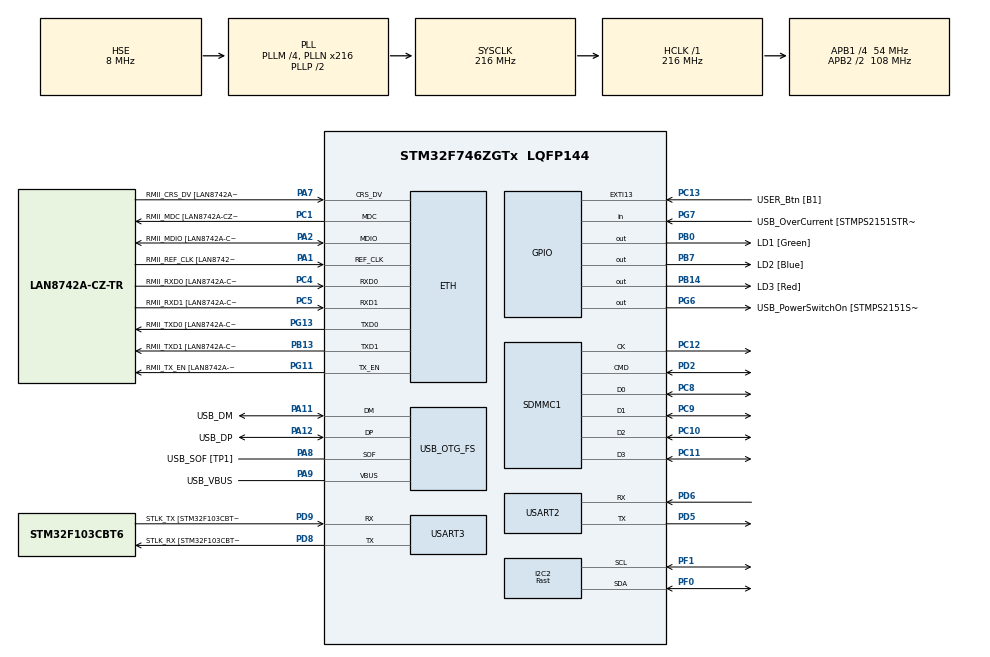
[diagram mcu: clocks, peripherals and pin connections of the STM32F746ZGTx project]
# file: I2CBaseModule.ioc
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Dma.Request0=SDMMC1_RX
Dma.Request1=SDMMC1_TX
Dma.SDMMC1_RX.0.Direction=DMA_PERIPH_TO_MEMORY
Dma.SDMMC1_RX.0.FIFOMode=DMA_FIFOMODE_ENABLE
Dma.SDMMC1_RX.0.FIFOThreshold=DMA_FIFO_THRESHOLD_FULL
Dma.SDMMC1_RX.0.Instance=DMA2_Stream3
Dma.SDMMC1_RX.0.MemBurst=DMA_MBURST_INC4
Dma.SDMMC1_RX.0.MemDataAlignment=DMA_MDATAALIGN_WORD
Dma.SDMMC1_RX.0.MemInc=DMA_MINC_ENABLE
Dma.SDMMC1_RX.0.Mode=DMA_PFCTRL
Dma.SDMMC1_RX.0.PeriphBurst=DMA_PBURST_INC4
Dma.SDMMC1_RX.0.PeriphDataAlignment=DMA_PDATAALIGN_WORD
Dma.SDMMC1_RX.0.PeriphInc=DMA_PINC_DISABLE
Dma.SDMMC1_RX.0.Priority=DMA_PRIORITY_LOW
Dma.SDMMC1_TX.1.Direction=DMA_MEMORY_TO_PERIPH
Dma.SDMMC1_TX.1.FIFOMode=DMA_FIFOMODE_ENABLE
Dma.SDMMC1_TX.1.FIFOThreshold=DMA_FIFO_THRESHOLD_FULL
Dma.SDMMC1_TX.1.Instance=DMA2_Stream6
Dma.SDMMC1_TX.1.MemBurst=DMA_MBURST_INC4
Dma.SDMMC1_TX.1.MemDataAlignment=DMA_MDATAALIGN_WORD
Dma.SDMMC1_TX.1.MemInc=DMA_MINC_ENABLE
Dma.SDMMC1_TX.1.Mode=DMA_PFCTRL
Dma.SDMMC1_TX.1.PeriphBurst=DMA_PBURST_INC4
Dma.SDMMC1_TX.1.PeriphDataAlignment=DMA_PDATAALIGN_WORD
Dma.SDMMC1_TX.1.PeriphInc=DMA_PINC_DISABLE
Dma.SDMMC1_TX.1.Priority=DMA_PRIORITY_LOW
ETH.MediaInterface=ETH_MEDIA_INTERFACE_RMII
ETH.PHY_Name=LAN8742A_PHY_ADDRESS
ETH.PHY_Value=0
ETH.PhyAddress=0
FATFS.BSP.number=1
FATFS.USE_DMA_CODE_SD=1
FATFS._MAX_SS=512
FATFS0.BSP.STBoard=false
FATFS0.BSP.api=Unknown
FATFS0.BSP.i2caddr=0
FATFS0.BSP.instance=PG7
FATFS0.BSP.ip=GPIO
FATFS0.BSP.mode=Input
FATFS0.BSP.name=Detect_SDIO
FATFS0.BSP.solution=PG7
I2C2.I2C_Speed_Mode=I2C_Fast
I2C2.Timing=0x6000030D
Mcu.Family=STM32F7
Mcu.Name=STM32F746ZGTx
Mcu.Package=LQFP144
NVIC.DMA2_Stream3_IRQn=true\:0\:0\:false\:false\:true\:false\:true
NVIC.DMA2_Stream6_IRQn=true\:0\:0\:false\:false\:true\:false\:true
NVIC.EXTI15_10_IRQn=true\:0\:0\:false\:false\:true\:true\:true
NVIC.PriorityGroup=NVIC_PRIORITYGROUP_4
NVIC.SDMMC1_IRQn=true\:0\:0\:false\:false\:true\:true\:true
PA1.GPIO_Label=RMII_REF_CLK [LAN8742A-CZ-TR_REFCLK0]
PA1.Mode=RMII
PA1.Signal=ETH_REF_CLK
PA10.GPIO_Label=USB_ID
PA10.Signal=USB_OTG_FS_ID
PA11.GPIO_Label=USB_DM
PA11.Mode=Device_Only
PA11.Signal=USB_OTG_FS_DM
PA12.GPIO_Label=USB_DP
PA12.Mode=Device_Only
PA12.Signal=USB_OTG_FS_DP
PA13.GPIO_Label=TMS
PA13.Mode=Serial_Wire
PA13.Signal=SYS_JTMS-SWDIO
PA14.GPIO_Label=TCK
PA14.Mode=Serial_Wire
PA14.Signal=SYS_JTCK-SWCLK
PA2.GPIO_Label=RMII_MDIO [LAN8742A-CZ-TR_MDIO]
PA2.Mode=RMII
PA2.Signal=ETH_MDIO
PA7.GPIO_Label=RMII_CRS_DV [LAN8742A-CZ-TR_CRS_DV]
PA7.Mode=RMII
PA7.Signal=ETH_CRS_DV
PA8.GPIO_Label=USB_SOF [TP1]
PA8.Mode=Activate_SOF_FS
PA8.Signal=USB_OTG_FS_SOF
PA9.GPIO_Label=USB_VBUS
PA9.Mode=Activate_VBUS
PA9.Signal=USB_OTG_FS_VBUS
PB0.GPIO_Label=LD1 [Green]
PB0.Signal=GPIO_Output
PB13.GPIO_Label=RMII_TXD1 [LAN8742A-CZ-TR_TXD1]
PB13.Mode=RMII
PB13.Signal=ETH_TXD1
PB14.GPIO_Label=LD3 [Red]
PB14.Signal=GPIO_Output
PB3.GPIO_Label=SW0
PB3.Signal=SYS_JTDO-SWO
PB7.GPIO_Label=LD2 [Blue]
PB7.Signal=GPIO_Output
PC1.GPIO_Label=RMII_MDC [LAN8742A-CZ-TR_MDC]
PC1.Mode=RMII
PC1.Signal=ETH_MDC
PC10.GPIO_PuPd=GPIO_PULLUP
PC10.Mode=SD_4_bits_Wide_bus
PC10.Signal=SDMMC1_D2
PC11.GPIO_PuPd=GPIO_PULLUP
PC11.Mode=SD_4_bits_Wide_bus
PC11.Signal=SDMMC1_D3
PC12.Mode=SD_4_bits_Wide_bus
PC12.Signal=SDMMC1_CK
PC13.GPIO_Label=USER_Btn [B1]
PC13.Signal=GPXTI13
PC14/OSC32_IN.Mode=LSE-External-Oscillator
PC14/OSC32_IN.Signal=RCC_OSC32_IN
PC15/OSC32_OUT.Mode=LSE-External-Oscillator
PC15/OSC32_OUT.Signal=RCC_OSC32_OUT
PC4.GPIO_Label=RMII_RXD0 [LAN8742A-CZ-TR_RXD0]
PC4.Mode=RMII
PC4.Signal=ETH_RXD0
PC5.GPIO_Label=RMII_RXD1 [LAN8742A-CZ-TR_RXD1]
PC5.Mode=RMII
PC5.Signal=ETH_RXD1
PC8.GPIO_PuPd=GPIO_PULLUP
PC8.Mode=SD_4_bits_Wide_bus
PC8.Signal=SDMMC1_D0
PC9.GPIO_PuPd=GPIO_PULLUP
PC9.Mode=SD_4_bits_Wide_bus
PC9.Signal=SDMMC1_D1
PD2.GPIO_PuPd=GPIO_PULLUP
PD2.Mode=SD_4_bits_Wide_bus
PD2.Signal=SDMMC1_CMD
PD5.Mode=Asynchronous
PD5.Signal=USART2_TX
PD6.Mode=Asynchronous
PD6.Signal=USART2_RX
PD8.GPIO_Label=STLK_RX [STM32F103CBT6_PA3]
PD8.Mode=Asynchronous
PD8.Signal=USART3_TX
PD9.GPIO_Label=STLK_TX [STM32F103CBT6_PA2]
PD9.Mode=Asynchronous
PD9.Signal=USART3_RX
PF0.Mode=I2C
PF0.Signal=I2C2_SDA
PF1.Mode=I2C
PF1.Signal=I2C2_SCL
PG11.GPIO_Label=RMII_TX_EN [LAN8742A-CZ-TR_TXEN]
PG11.Mode=RMII
PG11.Signal=ETH_TX_EN
PG13.GPIO_Label=RMII_TXD0 [LAN8742A-CZ-TR_TXD0]
PG13.Mode=RMII
PG13.Signal=ETH_TXD0
PG6.GPIO_Label=USB_PowerSwitchOn [STMPS2151STR_EN]
PG6.Signal=GPIO_Output
PG7.GPIO_Label=USB_OverCurrent [STMPS2151STR_FAULT]
PG7.Signal=GPIO_Input
PH0/OSC_IN.GPIO_Label=MCO [STM32F103CBT6_PA8]
PH0/OSC_IN.Mode=HSE-External-Clock-Source
PH0/OSC_IN.Signal=RCC_OSC_IN
PH1/OSC_OUT.Mode=HSE-External-Clock-Source
PH1/OSC_OUT.Signal=RCC_OSC_OUT
ProjectManager.HeapSize=0x200
ProjectManager.StackSize=0x400
ProjectManager.TargetToolchain=EWARM V8
RCC.48MHZClocksFreq_Value=24000000
RCC.AHBFreq_Value=216000000
RCC.APB1CLKDivider=RCC_HCLK_DIV4
RCC.APB1Freq_Value=54000000
RCC.APB1TimFreq_Value=108000000
RCC.APB2CLKDivider=RCC_HCLK_DIV2
RCC.APB2Freq_Value=108000000
RCC.APB2TimFreq_Value=216000000
RCC.CortexFreq_Value=216000000
RCC.HCLKFreq_Value=216000000
RCC.HSE_VALUE=8000000
RCC.HSI_VALUE=16000000
RCC.PLLM=4
RCC.PLLMUL=RCC_PLL_MUL9
RCC.PLLN=216
RCC.PLLQ=9
RCC.PRESCALERUSB=RCC_USBCLKSOURCE_PLL_DIV1_5
RCC.SDMMCClockSelection=RCC_SDMMC1CLKSOURCE_CLK48
RCC.SYSCLKFreq_VALUE=216000000
RCC.SYSCLKSource=RCC_SYSCLKSOURCE_PLLCLK
RCC.SYSCLKSourceVirtual=RCC_SYSCLKSOURCE_PLLCLK
RCC.USBFreq_Value=48000000
RCC.VCOOutputFreq_Value=432000000
SDMMC1.ClockDiv=2
USART2.VirtualMode-Asynchronous=VM_ASYNC
USART3.VirtualMode-Asynchronous=VM_ASYNC
USB_OTG_FS.VirtualMode=Device_Only
VP_FATFS_VS_SDIO.Mode=SDIO
board=NUCLEO-F746ZG

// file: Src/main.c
/* USER CODE BEGIN Header */
/**
  ******************************************************************************
  * @file           : main.c
  * @brief          : Main program body
  ******************************************************************************
  * @attention
  *
  * <h2><center>&copy; Copyright (c) 2019 STMicroelectronics.
  * All rights reserved.</center></h2>
  *
  * This software component is licensed by ST under BSD 3-Clause license,
  * the "License"; You may not use this file except in compliance with the
  * License. You may obtain a copy of the License at:
  *                        opensource.org/licenses/BSD-3-Clause
  *
  ******************************************************************************
  */
/* USER CODE END Header */

#include "main.h"
#include "fatfs.h"

/* USER CODE BEGIN Includes */
#include "SDcardFun.h"
#include "ExSuppFun.h"

/* USER CODE END Includes */

/* USER CODE BEGIN PD */

#define I2C_mode
#define UART_mode

#define SD_mode
#define Led_mode

/* USER CODE END PD */

/* USER CODE BEGIN PM */

#define DELAY_100HZ	10
#define DELAY_1HZ	1000
#define I2C_RECEIVE_CNT	(uint16_t)380
#define I2C_RECEIVE_TMT	10

/* USER CODE END PM */

ETH_HandleTypeDef heth;

I2C_HandleTypeDef hi2c2;

SD_HandleTypeDef hsd1;
DMA_HandleTypeDef hdma_sdmmc1_rx;
DMA_HandleTypeDef hdma_sdmmc1_tx;

UART_HandleTypeDef huart2;
UART_HandleTypeDef huart3;

PCD_HandleTypeDef hpcd_USB_OTG_FS;

/* USER CODE BEGIN PV */

#ifdef SD_mode
SDcardFile_HandleTypeDef sdcfhtd;
				  //01234567890123456789

#endif
				  //0123456789012345678
TCHAR FileName[] = "dtss/ss0000.txt";
uint8_t BufferTMP[10];

__IO uint8_t TargetI2Cdevice = 0xff;
__IO uint8_t I2Cflag = 0x00;
uint8_t ptI2Cbuffer2transmit[] = {0,2,0,0};
uint8_t ptI2Cbuffer4receive[I2C_RECEIVE_CNT] = {0};

//FATFS SDFatFs = {0};
//char SDPath[4];
//uint8_t workBuffer[_MAX_SS];
//FIL MyFile;

__IO uint8_t flgBtnPress = 0;
typedef enum{
	Mode_Start,
	Mode_Blinked
}BaseMode_TypeDef;
__IO uint8_t BaseCurMode = Mode_Start;

__IO uint8_t MaxCountDelayPerOneBlink = 100;
__IO uint8_t CountDPB = 0;
__IO uint32_t BaseDelay = DELAY_100HZ;

/* USER CODE END PV */

void SystemClock_Config(void);
static void MX_GPIO_Init(void);
static void MX_DMA_Init(void);
static void MX_ETH_Init(void);
static void MX_I2C2_Init(void);
static void MX_USART2_UART_Init(void);
static void MX_USART3_UART_Init(void);
static void MX_USB_OTG_FS_PCD_Init(void);
static void MX_SDMMC1_SD_Init(void);
/* USER CODE BEGIN PFP */
#ifdef UART_mode
static void UartsendMessage(uint8_t * msg, uint16_t cnt);
#endif
#ifdef Led_mode
static void LedSignalOn(void);
#endif

/* USER CODE END PFP */

int main(void)
{
  /* USER CODE BEGIN 1 */
#ifdef SD_mode
	UINT I2CgetDTcnt;
#endif

  /* USER CODE END 1 */

  /* MCU Configuration--------------------------------------------------------*/

  /* Reset of all peripherals, Initializes the Flash interface and the Systick. */
  HAL_Init();

  /* Configure the system clock */
  SystemClock_Config();

  /* Initialize all configured peripherals */
  MX_GPIO_Init();
  MX_DMA_Init();
  MX_ETH_Init();
  MX_I2C2_Init();
  MX_USART2_UART_Init();
  MX_USART3_UART_Init();
  MX_USB_OTG_FS_PCD_Init();
  MX_SDMMC1_SD_Init();
  MX_FATFS_Init();
  /* USER CODE BEGIN 2 */

  /* здесь происходит опрос портов*/
#ifdef UART_mode
  ReportMsg((uint8_t*)"Hello, user!\n");
#endif

#ifdef I2C_mode
  uint16_t possibleIndex;
  for ( possibleIndex = 0x01; possibleIndex < 127; possibleIndex++)
  {
	  if(HAL_I2C_IsDeviceReady(&hi2c2,(possibleIndex<<1),1,100) == HAL_OK)
	  {
		  TargetI2Cdevice = possibleIndex;
//		  break;
	  }
	  else
		  __NOP();
  }
  if(TargetI2Cdevice != 0xff)
  {
	  UartsendMessage((uint8_t*)"Get trg\n", 8);

	  __NOP();
  }
#endif

#ifdef SD_mode
  if(SDcardSelfTest(&sdcfhtd) == SDcard_success)
  {

#ifdef Led_mode
	  LedSignalOn();
#endif
//	  SDcardOpenDir(&sdcfhtd, "data");
//	  SDcardOpenFile2write(&sdcfhtd, "data/newfile2.txt");

	  UINT getmsglen;
//	  SDcardWrite2file(&sdcfhtd, (uint8_t*)"hello", (UINT)5, &getmsglen);
//	  SDcardCloseFile(&sdcfhtd);
	  if(TargetI2Cdevice != 0xff)
	  {
		  //check file names
		  uint16_t iterator = 1;
		  SDcardOpenDir(&sdcfhtd, "dtss");
		  while(SDcardTryOpen(&sdcfhtd, FileName) == SDcard_success)
		  {
			  uint8_t order = Dec_Convert(&BufferTMP[0],(int)iterator++);
			  for(uint8_t i = 0; i < order; i++)	FileName[11 - order + i] = BufferTMP[10 - order + i];
		  }
//		  TCHAR trgpath_tmp[] = "dtss/ss0000.txt";
		  SDcardOpenFile2write(&sdcfhtd, FileName);
		  SDcardWrite2file(&sdcfhtd, (uint8_t*)"new session\n", (UINT)sizeof("new session\n"), &getmsglen);

		  uint8_t i = 0;
		  while(i++ < 1)
		  {
			  ptI2Cbuffer2transmit[3] = 4;
			  HAL_I2C_Master_Transmit(&hi2c2, (TargetI2Cdevice<<1), ptI2Cbuffer2transmit, 4, 10);
			  HAL_Delay(100);
			  uint8_t j = 0;
			  while(j++ < 10)
			  {
					  HAL_I2C_Master_Receive(&hi2c2, (TargetI2Cdevice<<1), ptI2Cbuffer4receive, I2C_RECEIVE_CNT, I2C_RECEIVE_TMT);
					HAL_Delay(10);
			  }
			  HAL_Delay(100);
			  ptI2Cbuffer2transmit[3] = 0;
			  HAL_I2C_Master_Transmit(&hi2c2, (TargetI2Cdevice<<1), ptI2Cbuffer2transmit, 4, 10);
		  }

		  SDcardCloseFile(&sdcfhtd);
		  LedSignalOn();
	  }
	  __NOP();
  }
  __NOP();
#endif

  /* USER CODE END 2 */

  /* Infinite loop */
  /* USER CODE BEGIN WHILE */
#ifdef I2C_mode
  if(TargetI2Cdevice != 0xff)
  {
	  ptI2Cbuffer2transmit[3] = 0x01;
	  //HAL_I2C_Master_Receive(&hi2c2, (TargetI2Cdevice<<1), ptI2Cbuffer4receive, I2C_RECEIVE_CNT, I2C_RECEIVE_TMT);
	  if(HAL_I2C_Master_Transmit(&hi2c2, (TargetI2Cdevice<<1), ptI2Cbuffer2transmit, 4, 100) == HAL_OK)
	  {
		  I2Cflag = 0x01;
		  UartsendMessage((uint8_t*)"Set str\n", 8);
	  }
  }
#endif
  while (1)
  {
    /* USER CODE END WHILE */

    /* USER CODE BEGIN 3 */
#ifdef I2C_mode
	  if(I2Cflag)
	  {
		  uint32_t time = HAL_GetTick();
		  HAL_I2C_Master_Receive(&hi2c2, (TargetI2Cdevice<<1), ptI2Cbuffer4receive, I2C_RECEIVE_CNT, 10);
		  UartsendMessage(ptI2Cbuffer4receive, I2C_RECEIVE_CNT);
		  UartsendMessage((uint8_t*)"\n", 1);
		  time = HAL_GetTick() - time;
		  HAL_Delay(1000 - time);
	  }
#endif
	  if(flgBtnPress)
	  {
		  switch(BaseCurMode)
		  {
		  case Mode_Start:
			  BaseCurMode = Mode_Blinked;
#ifdef SD_mode
			  if(SDcardIsFileOpened(&sdcfhtd) != SDcard_FileOpen2write)
				  SDcardOpenFile2write(&sdcfhtd, FileName);
#endif
			  break;
		  case Mode_Blinked:
			  BaseCurMode = Mode_Start;
#ifdef SD_mode
			  if(SDcardIsFileOpened(&sdcfhtd) == SDcard_FileOpen2write)
				  SDcardCloseFile(&sdcfhtd);
#endif
			  break;
		  }
		  flgBtnPress = 0;
	  }
	  else
	  {
		  switch(BaseCurMode)
		  {
		  case Mode_Start:
			  break;
		  case Mode_Blinked:
#ifdef I2C_mode
			  HAL_I2C_Master_Receive(&hi2c2, (TargetI2Cdevice<<1), ptI2Cbuffer4receive, I2C_RECEIVE_CNT, I2C_RECEIVE_TMT);
#endif
#ifdef SD_mode
			  SDcardWrite2file(&sdcfhtd, ptI2Cbuffer4receive, I2C_RECEIVE_CNT, &I2CgetDTcnt);
#endif
			  if(CountDPB == MaxCountDelayPerOneBlink)
			  {
				  LedTurn(0);
				  CountDPB = 0;
			  }
			  else if(CountDPB == (MaxCountDelayPerOneBlink - 1))
			  {
				  LedTurn(1);
				  CountDPB++;
			  }
			  else
			  {
				  CountDPB++;
			  }
			  break;
		  }
	  }
	  HAL_Delay(BaseDelay);
  }
  /* USER CODE END 3 */
}

void SystemClock_Config(void)
{
  RCC_OscInitTypeDef RCC_OscInitStruct = {0};
  RCC_ClkInitTypeDef RCC_ClkInitStruct = {0};
  RCC_PeriphCLKInitTypeDef PeriphClkInitStruct = {0};

  /** Configure LSE Drive Capability
  */
  HAL_PWR_EnableBkUpAccess();
  /** Configure the main internal regulator output voltage
  */
  __HAL_RCC_PWR_CLK_ENABLE();
  __HAL_PWR_VOLTAGESCALING_CONFIG(PWR_REGULATOR_VOLTAGE_SCALE1);
  /** Initializes the CPU, AHB and APB busses clocks
  */
  RCC_OscInitStruct.OscillatorType = RCC_OSCILLATORTYPE_HSE;
  RCC_OscInitStruct.HSEState = RCC_HSE_BYPASS;
  RCC_OscInitStruct.PLL.PLLState = RCC_PLL_ON;
  RCC_OscInitStruct.PLL.PLLSource = RCC_PLLSOURCE_HSE;
  RCC_OscInitStruct.PLL.PLLM = 4;
  RCC_OscInitStruct.PLL.PLLN = 216;
  RCC_OscInitStruct.PLL.PLLP = RCC_PLLP_DIV2;
  RCC_OscInitStruct.PLL.PLLQ = 9;
  if (HAL_RCC_OscConfig(&RCC_OscInitStruct) != HAL_OK)
  {
    Error_Handler();
  }
  /** Activate the Over-Drive mode
  */
  if (HAL_PWREx_EnableOverDrive() != HAL_OK)
  {
    Error_Handler();
  }
  /** Initializes the CPU, AHB and APB busses clocks
  */
  RCC_ClkInitStruct.ClockType = RCC_CLOCKTYPE_HCLK|RCC_CLOCKTYPE_SYSCLK
                              |RCC_CLOCKTYPE_PCLK1|RCC_CLOCKTYPE_PCLK2;
  RCC_ClkInitStruct.SYSCLKSource = RCC_SYSCLKSOURCE_PLLCLK;
  RCC_ClkInitStruct.AHBCLKDivider = RCC_SYSCLK_DIV1;
  RCC_ClkInitStruct.APB1CLKDivider = RCC_HCLK_DIV4;
  RCC_ClkInitStruct.APB2CLKDivider = RCC_HCLK_DIV2;

  if (HAL_RCC_ClockConfig(&RCC_ClkInitStruct, FLASH_LATENCY_7) != HAL_OK)
  {
    Error_Handler();
  }
  PeriphClkInitStruct.PeriphClockSelection = RCC_PERIPHCLK_USART2|RCC_PERIPHCLK_USART3
                              |RCC_PERIPHCLK_I2C2|RCC_PERIPHCLK_SDMMC1
                              |RCC_PERIPHCLK_CLK48;
  PeriphClkInitStruct.Usart2ClockSelection = RCC_USART2CLKSOURCE_PCLK1;
  PeriphClkInitStruct.Usart3ClockSelection = RCC_USART3CLKSOURCE_PCLK1;
  PeriphClkInitStruct.I2c2ClockSelection = RCC_I2C2CLKSOURCE_PCLK1;
  PeriphClkInitStruct.Clk48ClockSelection = RCC_CLK48SOURCE_PLL;
  PeriphClkInitStruct.Sdmmc1ClockSelection = RCC_SDMMC1CLKSOURCE_CLK48;
  if (HAL_RCCEx_PeriphCLKConfig(&PeriphClkInitStruct) != HAL_OK)
  {
    Error_Handler();
  }
}

static void MX_ETH_Init(void)
{

   uint8_t MACAddr[6] ;

  heth.Instance = ETH;
  heth.Init.AutoNegotiation = ETH_AUTONEGOTIATION_ENABLE;
  heth.Init.PhyAddress = LAN8742A_PHY_ADDRESS;
  MACAddr[0] = 0x00;
  MACAddr[1] = 0x80;
  MACAddr[2] = 0xE1;
  MACAddr[3] = 0x00;
  MACAddr[4] = 0x00;
  MACAddr[5] = 0x00;
  heth.Init.MACAddr = &MACAddr[0];
  heth.Init.RxMode = ETH_RXPOLLING_MODE;
  heth.Init.ChecksumMode = ETH_CHECKSUM_BY_HARDWARE;
  heth.Init.MediaInterface = ETH_MEDIA_INTERFACE_RMII;

  if (HAL_ETH_Init(&heth) != HAL_OK)
  {
    Error_Handler();
  }

}

static void MX_I2C2_Init(void)
{

  hi2c2.Instance = I2C2;
  hi2c2.Init.Timing = 0x6000030D;
  hi2c2.Init.OwnAddress1 = 0;
  hi2c2.Init.AddressingMode = I2C_ADDRESSINGMODE_7BIT;
  hi2c2.Init.DualAddressMode = I2C_DUALADDRESS_DISABLE;
  hi2c2.Init.OwnAddress2 = 0;
  hi2c2.Init.OwnAddress2Masks = I2C_OA2_NOMASK;
  hi2c2.Init.GeneralCallMode = I2C_GENERALCALL_DISABLE;
  hi2c2.Init.NoStretchMode = I2C_NOSTRETCH_DISABLE;
  if (HAL_I2C_Init(&hi2c2) != HAL_OK)
  {
    Error_Handler();
  }
  /** Configure Analogue filter
  */
  if (HAL_I2CEx_ConfigAnalogFilter(&hi2c2, I2C_ANALOGFILTER_ENABLE) != HAL_OK)
  {
    Error_Handler();
  }
  /** Configure Digital filter
  */
  if (HAL_I2CEx_ConfigDigitalFilter(&hi2c2, 0) != HAL_OK)
  {
    Error_Handler();
  }

}

static void MX_SDMMC1_SD_Init(void)
{

  hsd1.Instance = SDMMC1;
  hsd1.Init.ClockEdge = SDMMC_CLOCK_EDGE_RISING;
  hsd1.Init.ClockBypass = SDMMC_CLOCK_BYPASS_DISABLE;
  hsd1.Init.ClockPowerSave = SDMMC_CLOCK_POWER_SAVE_DISABLE;
  hsd1.Init.BusWide = SDMMC_BUS_WIDE_1B;
  hsd1.Init.HardwareFlowControl = SDMMC_HARDWARE_FLOW_CONTROL_DISABLE;
  hsd1.Init.ClockDiv = 2;
  /* USER CODE BEGIN SDMMC1_Init 2 */

  HAL_SD_MspInit(&hsd1);

  //BSP_SD_Init();

  HAL_Delay(200);

  __NOP();

  /* USER CODE END SDMMC1_Init 2 */

}

static void MX_USART2_UART_Init(void)
{

  huart2.Instance = USART2;
  huart2.Init.BaudRate = 115200;
  huart2.Init.WordLength = UART_WORDLENGTH_8B;
  huart2.Init.StopBits = UART_STOPBITS_1;
  huart2.Init.Parity = UART_PARITY_NONE;
  huart2.Init.Mode = UART_MODE_TX_RX;
  huart2.Init.HwFlowCtl = UART_HWCONTROL_NONE;
  huart2.Init.OverSampling = UART_OVERSAMPLING_16;
  huart2.Init.OneBitSampling = UART_ONE_BIT_SAMPLE_DISABLE;
  huart2.AdvancedInit.AdvFeatureInit = UART_ADVFEATURE_NO_INIT;
  if (HAL_UART_Init(&huart2) != HAL_OK)
  {
    Error_Handler();
  }

}

static void MX_USART3_UART_Init(void)
{

  huart3.Instance = USART3;
  huart3.Init.BaudRate = 115200;
  huart3.Init.WordLength = UART_WORDLENGTH_8B;
  huart3.Init.StopBits = UART_STOPBITS_1;
  huart3.Init.Parity = UART_PARITY_NONE;
  huart3.Init.Mode = UART_MODE_TX_RX;
  huart3.Init.HwFlowCtl = UART_HWCONTROL_NONE;
  huart3.Init.OverSampling = UART_OVERSAMPLING_16;
  huart3.Init.OneBitSampling = UART_ONE_BIT_SAMPLE_DISABLE;
  huart3.AdvancedInit.AdvFeatureInit = UART_ADVFEATURE_NO_INIT;
  if (HAL_UART_Init(&huart3) != HAL_OK)
  {
    Error_Handler();
  }

}

static void MX_USB_OTG_FS_PCD_Init(void)
{

  hpcd_USB_OTG_FS.Instance = USB_OTG_FS;
  hpcd_USB_OTG_FS.Init.dev_endpoints = 6;
  hpcd_USB_OTG_FS.Init.speed = PCD_SPEED_FULL;
  hpcd_USB_OTG_FS.Init.dma_enable = DISABLE;
  hpcd_USB_OTG_FS.Init.phy_itface = PCD_PHY_EMBEDDED;
  hpcd_USB_OTG_FS.Init.Sof_enable = ENABLE;
  hpcd_USB_OTG_FS.Init.low_power_enable = DISABLE;
  hpcd_USB_OTG_FS.Init.lpm_enable = DISABLE;
  hpcd_USB_OTG_FS.Init.vbus_sensing_enable = ENABLE;
  hpcd_USB_OTG_FS.Init.use_dedicated_ep1 = DISABLE;
  if (HAL_PCD_Init(&hpcd_USB_OTG_FS) != HAL_OK)
  {
    Error_Handler();
  }

}

static void MX_DMA_Init(void)
{
  /* DMA controller clock enable */
  __HAL_RCC_DMA2_CLK_ENABLE();

  /* DMA interrupt init */
  /* DMA2_Stream3_IRQn interrupt configuration */
  HAL_NVIC_SetPriority(DMA2_Stream3_IRQn, 0, 0);
  HAL_NVIC_EnableIRQ(DMA2_Stream3_IRQn);
  /* DMA2_Stream6_IRQn interrupt configuration */
  HAL_NVIC_SetPriority(DMA2_Stream6_IRQn, 0, 0);
  HAL_NVIC_EnableIRQ(DMA2_Stream6_IRQn);

}

static void MX_GPIO_Init(void)
{
  GPIO_InitTypeDef GPIO_InitStruct = {0};

  /* GPIO Ports Clock Enable */
  __HAL_RCC_GPIOC_CLK_ENABLE();
  __HAL_RCC_GPIOF_CLK_ENABLE();
  __HAL_RCC_GPIOH_CLK_ENABLE();
  __HAL_RCC_GPIOA_CLK_ENABLE();
  __HAL_RCC_GPIOB_CLK_ENABLE();
  __HAL_RCC_GPIOD_CLK_ENABLE();
  __HAL_RCC_GPIOG_CLK_ENABLE();

  /*Configure GPIO pin Output Level */
  HAL_GPIO_WritePin(GPIOB, LD1_Pin|LD3_Pin|LD2_Pin, GPIO_PIN_RESET);

  /*Configure GPIO pin Output Level */
  HAL_GPIO_WritePin(USB_PowerSwitchOn_GPIO_Port, USB_PowerSwitchOn_Pin, GPIO_PIN_RESET);

  /*Configure GPIO pin : USER_Btn_Pin */
  GPIO_InitStruct.Pin = USER_Btn_Pin;
  GPIO_InitStruct.Mode = GPIO_MODE_IT_RISING;
  GPIO_InitStruct.Pull = GPIO_NOPULL;
  HAL_GPIO_Init(USER_Btn_GPIO_Port, &GPIO_InitStruct);

  /*Configure GPIO pins : LD1_Pin LD3_Pin LD2_Pin */
  GPIO_InitStruct.Pin = LD1_Pin|LD3_Pin|LD2_Pin;
  GPIO_InitStruct.Mode = GPIO_MODE_OUTPUT_PP;
  GPIO_InitStruct.Pull = GPIO_NOPULL;
  GPIO_InitStruct.Speed = GPIO_SPEED_FREQ_LOW;
  HAL_GPIO_Init(GPIOB, &GPIO_InitStruct);

  /*Configure GPIO pin : USB_PowerSwitchOn_Pin */
  GPIO_InitStruct.Pin = USB_PowerSwitchOn_Pin;
  GPIO_InitStruct.Mode = GPIO_MODE_OUTPUT_PP;
  GPIO_InitStruct.Pull = GPIO_NOPULL;
  GPIO_InitStruct.Speed = GPIO_SPEED_FREQ_LOW;
  HAL_GPIO_Init(USB_PowerSwitchOn_GPIO_Port, &GPIO_InitStruct);

  /*Configure GPIO pin : USB_OverCurrent_Pin */
  GPIO_InitStruct.Pin = USB_OverCurrent_Pin;
  GPIO_InitStruct.Mode = GPIO_MODE_INPUT;
  GPIO_InitStruct.Pull = GPIO_NOPULL;
  HAL_GPIO_Init(USB_OverCurrent_GPIO_Port, &GPIO_InitStruct);

  /* EXTI interrupt init*/
  HAL_NVIC_SetPriority(EXTI15_10_IRQn, 0, 0);
  HAL_NVIC_EnableIRQ(EXTI15_10_IRQn);

}

/* USER CODE BEGIN 4 */
#ifdef UART_mode
static void UartsendMessage(uint8_t * msg, uint16_t cnt)
{
	HAL_UART_Transmit(&huart2, msg, cnt, 10);
}
#endif
#ifdef Led_mode
static void LedSignalOn(void)
{
	HAL_GPIO_WritePin(GPIOB, LD1_Pin,GPIO_PIN_SET);
}
#endif

void BlinkLed(uint32_t delay)
{
	HAL_GPIO_TogglePin(GPIOB, LD2_Pin);
	HAL_Delay(delay);
	HAL_GPIO_TogglePin(GPIOB, LD2_Pin);
}
void LedTurn(uint8_t mode)
{
	if(mode)	HAL_GPIO_WritePin(GPIOB, 	LD2_Pin,	GPIO_PIN_SET);
	else		HAL_GPIO_WritePin(GPIOB, 	LD2_Pin,	GPIO_PIN_RESET);
}
void BtnPress_Callback(void)
{
	flgBtnPress = 1;
}
void ReportMsg(uint8_t * msg)
{
	uint16_t count = 0;
	while(*msg++ != '\0') count++;
#ifdef UART_mode
	HAL_UART_Transmit(&huart2, msg, count, 10);
#endif

#ifdef SD_mode
	if(sdcfhtd.fileIsOpened == SDcard_FileOpen2write)
	{
		UINT getmsglen = 0;
		SDcardWrite2file(&sdcfhtd, msg, count, &getmsglen);
		if(count != getmsglen)
		{
			//some error
		}
	}
#endif
}

/* USER CODE END 4 */

void Error_Handler(void)
{
}

/************************ (C) COPYRIGHT STMicroelectronics *****END OF FILE****/
